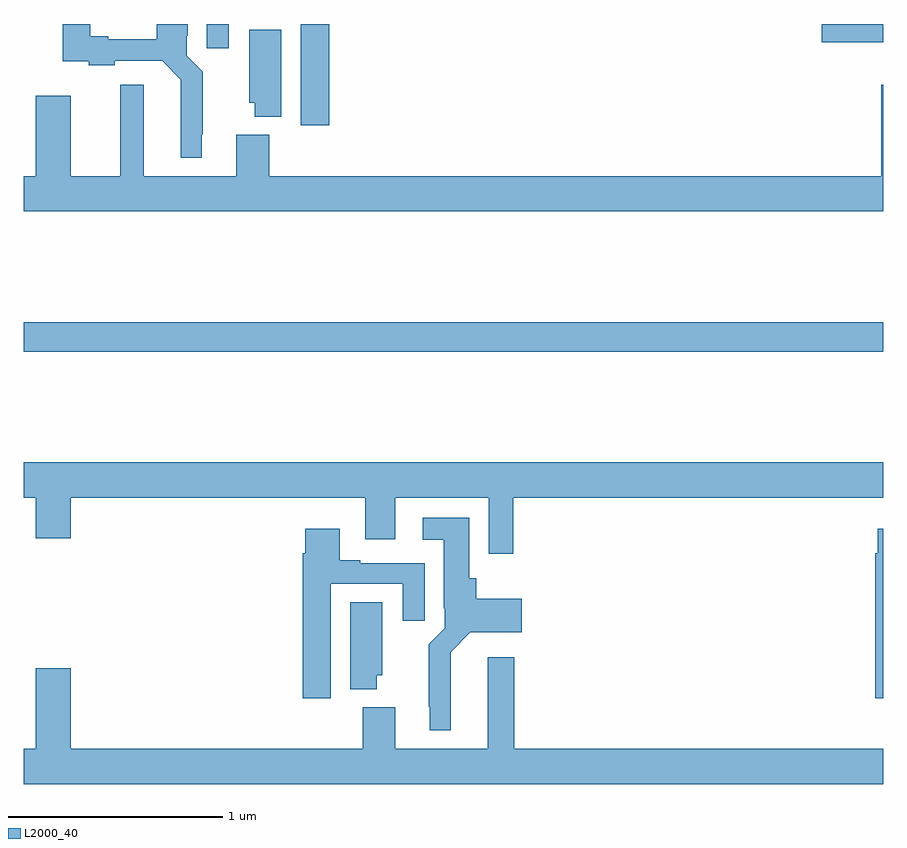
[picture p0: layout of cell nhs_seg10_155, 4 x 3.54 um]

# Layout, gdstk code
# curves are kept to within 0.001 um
import gdstk
lib = gdstk.Library(unit=1e-6, precision=1e-09)
def R(c, l, rs):  # rectangles x0, y0, x1, y1
    for r in rs: c.add(gdstk.rectangle(r[:2], r[2:], *l))
def P(c, l, *ps):  # polygons
    for p in ps: c.add(gdstk.Polygon(p, *l))
L2000_40 = (2000, 40)

nhs_seg10_155 = lib.new_cell('nhs_seg10_155')
R(nhs_seg10_155, L2000_40, [(117,1320.976,121,1321.112), (118.289,1322.028,118.421,1322.5), (117.851,1322.388,117.955,1322.5), (120.714,1322.414,121,1322.5)])
P(nhs_seg10_155, L2000_40, [(117.829,1321.987),(117.833,1321.987),(117.833,1322.278),(117.759,1322.352),(117.759,1322.446),(117.763,1322.446),(117.763,1322.5),(117.619,1322.5),(117.619,1322.429),(117.394,1322.429),(117.394,1322.444),(117.31,1322.444),(117.31,1322.5),(117.181,1322.5),(117.181,1322.327),(117.304,1322.327),(117.304,1322.308),(117.423,1322.308),(117.423,1322.328),(117.644,1322.328),(117.732,1322.24),(117.731,1321.877),(117.829,1321.877)],
  [(118.198,1322.474),(118.049,1322.474),(118.049,1322.133),(118.076,1322.133),(118.076,1322.069),(118.198,1322.069)],
  [(121,1322.218),(120.989,1322.218),(120.989,1321.792),(118.142,1321.792),(118.142,1321.984),(117.989,1321.984),(117.989,1321.792),(117.559,1321.792),(117.559,1322.218),(117.449,1322.218),(117.449,1321.792),(117.22,1321.792),(117.22,1322.167),(117.056,1322.167),(117.056,1321.792),(117,1321.792),(117,1321.628),(121,1321.628)],
  [(119.279,1320.296),(121,1320.296),(121,1320.46),(117,1320.46),(117,1320.296),(117.056,1320.296),(117.056,1320.108),(117.22,1320.108),(117.22,1320.296),(118.589,1320.296),(118.589,1320.102),(118.729,1320.102),(118.729,1320.296),(119.163,1320.296),(119.163,1320.036),(119.279,1320.036)],
  [(118.987,1319.576),(119.079,1319.669),(119.317,1319.669),(119.317,1319.827),(119.105,1319.827),(119.105,1319.922),(119.074,1319.922),(119.074,1320.202),(118.857,1320.202),(118.857,1320.101),(118.955,1320.101),(118.955,1319.782),(118.959,1319.782),(118.959,1319.688),(118.885,1319.614),(118.885,1319.323),(118.889,1319.323),(118.889,1319.213),(118.987,1319.213)],
  [(118.429,1319.895),(118.763,1319.895),(118.763,1319.724),(118.867,1319.724),(118.867,1319.991),(118.567,1319.991),(118.567,1320.004),(118.471,1320.004),(118.471,1320.151),(118.31,1320.151),(118.31,1320.038),(118.298,1320.038),(118.298,1319.364),(118.429,1319.364)],
  [(121,1320.151),(120.974,1320.151),(120.974,1320.038),(120.962,1320.038),(120.962,1319.364),(121,1319.364)],
  [(118.642,1319.469),(118.669,1319.469),(118.669,1319.81),(118.52,1319.81),(118.52,1319.405),(118.642,1319.405)],
  [(121,1319.128),(119.282,1319.128),(119.282,1319.554),(119.159,1319.554),(119.159,1319.128),(118.729,1319.128),(118.729,1319.32),(118.577,1319.32),(118.577,1319.128),(117.22,1319.128),(117.22,1319.503),(117.056,1319.503),(117.056,1319.128),(117,1319.128),(117,1318.964),(121,1318.964)])

lib.write_gds('nhs_seg10_155.gds')
